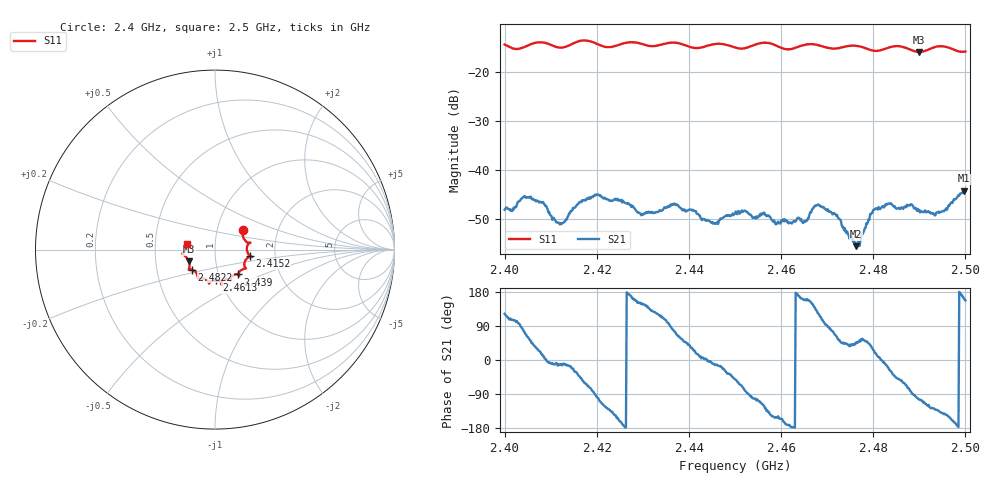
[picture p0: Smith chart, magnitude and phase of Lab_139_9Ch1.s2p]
# Hz S RI R 50
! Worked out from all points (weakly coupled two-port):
!   601 points, 2.4 GHz to 2.5 GHz, reference 50 ohm
!   highest |S21| = -44.26 dB at 2.4997 GHz (marker M1); lowest = -55.6 dB at 2.4763 GHz (marker M2)
!   lowest |S11| = -15.9 dB at 2.49 GHz (marker M3), VSWR 1.38, Z = 37 - j4.87 ohm
!   |S11| at or under -10 dB: start of sweep to end of sweep
!   S12 and S22 are empty: the file has one direction only
!   S11 on the Smith chart (normalised r, x): 2.4 GHz: 1.33, +0.30; 2.4152 GHz: 1.48, -0.11; 2.439 GHz: 1.24, -0.36; 2.4613 GHz: 0.96, -0.34; 2.4822 GHz: 0.76, -0.17; 2.5 GHz: 0.72, +0.05
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2.4e9  0.1557 0.1101  -0.00208 0.00333  0 0  0 0
2.405333e9  0.185 0.0376  0.00298 0.00437  0 0  0 0
2.412167e9  0.177 0.00401  0.00281 -0.000524  0 0  0 0
2.415167e9  0.1951 -0.0361  0.00351 -0.00207  0 0  0 0
2.416667e9  0.2048 -0.0421  0.0031 -0.00351  0 0  0 0
2.420167e9  0.1879 -0.0427  -0.000927 -0.00557  0 0  0 0
2.433333e9  0.1322 -0.1322  -0.00189 0.0032  0 0  0 0
2.439e9  0.1282 -0.1386  0.00259 0.00286  0 0  0 0
2.4455e9  0.085 -0.1727  0.0028 -0.000579  0 0  0 0
2.45e9  0.0687 -0.1642  0.00223 -0.00279  0 0  0 0
2.461333e9  0.00693 -0.1703  -0.00288 -0.000453  0 0  0 0
2.465167e9  -0.0331 -0.1865  -0.00283 0.00108  0 0  0 0
2.466667e9  -0.0336 -0.1896  -0.00331 0.00202  0 0  0 0
2.471833e9  -0.0636 -0.1615  0.00148 0.0032  0 0  0 0
2.476333e9  -0.0942 -0.1594  0.0012 0.00116  0 0  0 0
2.479833e9  -0.105 -0.1283  0.00314 0.00186  0 0  0 0
2.482167e9  -0.1275 -0.1115  0.00425 -0.000457  0 0  0 0
2.483333e9  -0.1388 -0.1102  0.00424 -0.00166  0 0  0 0
2.49e9  -0.1464 -0.0642  -0.00096 -0.00379  0 0  0 0
2.494833e9  -0.182 -0.0217  -0.00283 -0.00244  0 0  0 0
2.499667e9  -0.1586 0.0273  -0.00582 0.0019  0 0  0 0
2.5e9  -0.1587 0.0333  -0.00559 0.00235  0 0  0 0
